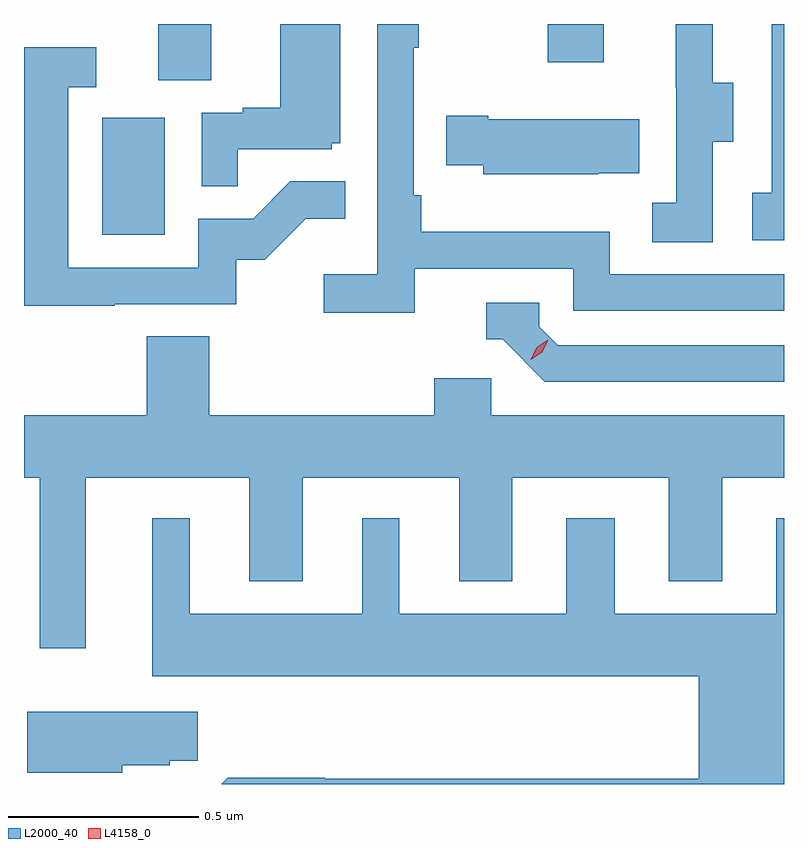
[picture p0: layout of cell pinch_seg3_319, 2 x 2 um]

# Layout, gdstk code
import gdstk
lib = gdstk.Library(unit=1e-6, precision=1e-09)
def R(c, l, rs):  # rectangles x0, y0, x1, y1
    for r in rs: c.add(gdstk.rectangle(r[:2], r[2:], *l))
def P(c, l, *ps):  # polygons
    for p in ps: c.add(gdstk.Polygon(p, *l))
L2000_40 = (2000, 40)
L4158_0 = (4158, 0)

pinch_seg3_319 = lib.new_cell('pinch_seg3_319')
R(pinch_seg3_319, L2000_40, [(998.264,714.876,998.428,715.183), (998.411,715.282,998.551,715.43), (999.436,715.329,999.583,715.43)])
P(pinch_seg3_319, L2000_40, [(998.621,715.101),(998.868,715.101),(998.868,715.116),(998.89,715.116),(998.89,715.43),(998.732,715.43),(998.732,715.21),(998.633,715.21),(998.633,715.197),(998.526,715.197),(998.526,715.003),(998.621,715.003)],
  [(999.086,714.786),(999.504,714.786),(999.504,714.675),(1000.058,714.675),(1000.058,714.771),(999.6,714.771),(999.6,714.883),(999.104,714.883),(999.104,714.979),(999.084,714.979),(999.084,715.367),(999.097,715.367),(999.097,715.43),(998.988,715.43),(998.988,714.772),(998.847,714.772),(998.847,714.67),(999.086,714.67)],
  [(1000.058,715.43),(1000.026,715.43),(1000.026,714.986),(999.975,714.986),(999.975,714.861),(1000.058,714.861)],
  [(999.87,715.12),(999.925,715.12),(999.925,715.275),(999.871,715.275),(999.871,715.43),(999.773,715.43),(999.773,715.263),(999.774,715.263),(999.774,714.959),(999.711,714.959),(999.711,714.856),(999.87,714.856)],
  [(998.297,714.693),(998.616,714.693),(998.616,714.81),(998.692,714.81),(998.799,714.917),(998.903,714.917),(998.903,715.016),(998.759,715.016),(998.661,714.918),(998.517,714.918),(998.517,714.789),(998.175,714.789),(998.175,715.263),(998.248,715.263),(998.248,715.369),(998.059,715.369),(998.059,714.688),(998.297,714.688)],
  [(999.569,715.037),(999.677,715.037),(999.677,715.18),(999.28,715.18),(999.28,715.188),(999.169,715.188),(999.169,715.058),(999.267,715.058),(999.267,715.034),(999.569,715.034)],
  [(1000.058,714.585),(999.462,714.585),(999.414,714.633),(999.414,714.696),(999.275,714.696),(999.275,714.6),(999.318,714.6),(999.429,714.489),(1000.058,714.489)],
  [(998.221,714.236),(998.651,714.236),(998.651,713.963),(998.791,713.963),(998.791,714.236),(999.203,714.236),(999.203,713.963),(999.343,713.963),(999.343,714.236),(999.755,714.236),(999.755,713.963),(999.895,713.963),(999.895,714.236),(1000.058,714.236),(1000.058,714.4),(999.288,714.4),(999.288,714.498),(999.137,714.498),(999.137,714.4),(998.546,714.4),(998.546,714.608),(998.381,714.608),(998.381,714.4),(998.058,714.4),(998.058,714.236),(998.1,714.236),(998.1,713.787),(998.221,713.787)],
  [(1000.058,714.13),(1000.037,714.13),(1000.037,713.878),(999.613,713.878),(999.613,714.13),(999.485,714.13),(999.485,713.878),(999.046,713.878),(999.046,714.13),(998.948,714.13),(998.948,713.878),(998.494,713.878),(998.494,714.13),(998.396,714.13),(998.396,713.714),(999.833,713.714),(999.833,713.444),(998.849,713.444),(998.849,713.447),(998.594,713.447),(998.577,713.43),(1000.058,713.43)],
  [(998.316,713.48),(998.442,713.48),(998.442,713.491),(998.515,713.491),(998.515,713.62),(998.066,713.62),(998.066,713.459),(998.316,713.459)])
P(pinch_seg3_319, L4158_0, [(999.391,714.547),(999.391,714.547),(999.407,714.58),(999.438,714.599),(999.438,714.599),(999.438,714.598),(999.422,714.566),(999.391,714.547)])

lib.write_gds('pinch_seg3_319.gds')
